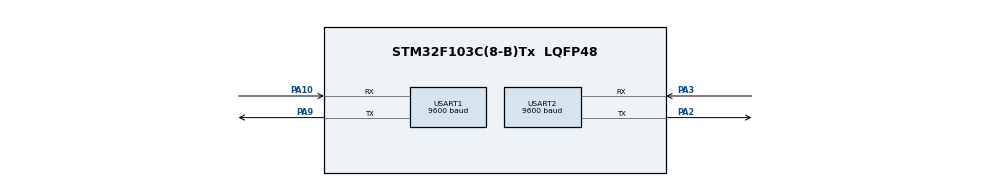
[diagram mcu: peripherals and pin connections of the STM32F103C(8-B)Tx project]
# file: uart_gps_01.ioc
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Mcu.Family=STM32F1
Mcu.Name=STM32F103C(8-B)Tx
Mcu.Package=LQFP48
NVIC.PriorityGroup=NVIC_PRIORITYGROUP_4
NVIC.USART1_IRQn=true\:0\:0\:false\:false\:true\:true\:true
PA10.Mode=Asynchronous
PA10.Signal=USART1_RX
PA13.Mode=Serial_Wire
PA13.Signal=SYS_JTMS-SWDIO
PA14.Mode=Serial_Wire
PA14.Signal=SYS_JTCK-SWCLK
PA2.Mode=Asynchronous
PA2.Signal=USART2_TX
PA3.Mode=Asynchronous
PA3.Signal=USART2_RX
PA9.Mode=Asynchronous
PA9.Signal=USART1_TX
PD0-OSC_IN.Mode=HSE-External-Oscillator
PD0-OSC_IN.Signal=RCC_OSC_IN
PD1-OSC_OUT.Mode=HSE-External-Oscillator
PD1-OSC_OUT.Signal=RCC_OSC_OUT
ProjectManager.HeapSize=0x200
ProjectManager.StackSize=0x400
ProjectManager.TargetToolchain=STM32CubeIDE
RCC.APB1Freq_Value=8000000
RCC.APB2Freq_Value=8000000
USART1.BaudRate=9600
USART1.VirtualMode=VM_ASYNC
USART2.BaudRate=9600
USART2.Mode=MODE_TX
USART2.VirtualMode=VM_ASYNC
board=custom

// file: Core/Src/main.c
/* USER CODE BEGIN Header */
/**
  ******************************************************************************
  * @file           : main.c
  * @brief          : Main program body
  ******************************************************************************
  * @attention
  *
  * Copyright (c) 2025 STMicroelectronics.
  * All rights reserved.
  *
  * This software is licensed under terms that can be found in the LICENSE file
  * in the root directory of this software component.
  * If no LICENSE file comes with this software, it is provided AS-IS.
  *
  ******************************************************************************
  */
/* USER CODE END Header */
#include "main.h"
#include "usart.h"
#include "gpio.h"
#include <stdio.h>
#include <string.h>
#include <stdlib.h>

/* USER CODE BEGIN Includes */
int __io_putchar(int ch) {
  HAL_UART_Transmit(&huart2, (uint8_t *)&ch, 1, HAL_MAX_DELAY);
  return ch;
}
/* USER CODE END Includes */

/* USER CODE BEGIN PTD */
UART_HandleTypeDef huart1;
UART_HandleTypeDef huart2;
/* USER CODE END PTD */

/* USER CODE BEGIN PV */
char rxBuffer[1024];
char txBuffer[128];
char gpsLat[16] = "0.000000";
char gpsLon[16] = "0.000000";
uint8_t gpsFixed = 0;
volatile uint16_t rxIndex = 0;
volatile uint8_t rxComplete = 0;
uint8_t rxChar;
/* USER CODE END PV */

void SystemClock_Config(void);
/* USER CODE BEGIN PFP */
void SystemClock_Config(void);
void sendAT(char *cmd, uint32_t delayMs);
void getGPSData();
void submitHttpRequest();
void clearRxBuffer();
void startUartReceive();
void HAL_UART_RxCpltCallback(UART_HandleTypeDef *huart);
/* USER CODE END PFP */

int main(void)
{

  /* MCU Configuration--------------------------------------------------------*/

  /* Reset of all peripherals, Initializes the Flash interface and the Systick. */
  HAL_Init();

  /* Configure the system clock */
  SystemClock_Config();

  /* Initialize all configured peripherals */
  MX_GPIO_Init();
  MX_USART1_UART_Init();
  MX_USART2_UART_Init();
  /* USER CODE BEGIN 2 */

  printf("Starting SIM808 GPS Tracker...\r\n");

  // Start interrupt-based UART reception
  startUartReceive();

  // Basic AT command test
  HAL_UART_Transmit(&huart1, (uint8_t *)"AT\r\n", 4, 1000);
  HAL_Delay(1000);

  // Enable GPS power and wait longer for GPS to initialize
  printf("Enabling GPS...\r\n");
  sendAT("AT+CGNSPWR=1\r\n", 2000); // Enable GPS power
  HAL_Delay(5000); // Wait 5 seconds for GPS to power up

  // Configure GPRS
  printf("Configuring GPRS...\r\n");
  sendAT("AT+SAPBR=3,1,\"CONTYPE\",\"GPRS\"\r\n", 1000);
  sendAT("AT+SAPBR=3,1,\"APN\",\"YourAPN\"\r\n", 1000);
  sendAT("AT+SAPBR=1,1\r\n", 3000);
  sendAT("AT+HTTPINIT\r\n", 500);

  printf("Initialization complete. Starting main loop...\r\n");

  /* USER CODE END 2 */

  /* Infinite loop */
  while (1)
  {
    getGPSData();

    if (gpsFixed) {
      printf("GPS Fixed! Latitude = %s, Longitude = %s\r\n", gpsLat, gpsLon);
      submitHttpRequest();
    } else {
      printf("GPS not fixed yet. Latitude = %s, Longitude = %s\r\n", gpsLat, gpsLon);
    }

    HAL_Delay(10000); // Wait 10 seconds before next reading
  }
}

void SystemClock_Config(void)
{
  RCC_OscInitTypeDef RCC_OscInitStruct = {0};
  RCC_ClkInitTypeDef RCC_ClkInitStruct = {0};

  /** Initializes the RCC Oscillators according to the specified parameters
  * in the RCC_OscInitStruct structure.
  */
  RCC_OscInitStruct.OscillatorType = RCC_OSCILLATORTYPE_HSI;
  RCC_OscInitStruct.HSIState = RCC_HSI_ON;
  RCC_OscInitStruct.HSICalibrationValue = RCC_HSICALIBRATION_DEFAULT;
  RCC_OscInitStruct.PLL.PLLState = RCC_PLL_NONE;
  if (HAL_RCC_OscConfig(&RCC_OscInitStruct) != HAL_OK)
  {
    Error_Handler();
  }
  /** Initializes the CPU, AHB and APB buses clocks
  */
  RCC_ClkInitStruct.ClockType = RCC_CLOCKTYPE_HCLK|RCC_CLOCKTYPE_SYSCLK
                              |RCC_CLOCKTYPE_PCLK1|RCC_CLOCKTYPE_PCLK2;
  RCC_ClkInitStruct.SYSCLKSource = RCC_SYSCLKSOURCE_HSI;
  RCC_ClkInitStruct.AHBCLKDivider = RCC_SYSCLK_DIV1;
  RCC_ClkInitStruct.APB1CLKDivider = RCC_HCLK_DIV1;
  RCC_ClkInitStruct.APB2CLKDivider = RCC_HCLK_DIV1;

  if (HAL_RCC_ClockConfig(&RCC_ClkInitStruct, FLASH_LATENCY_0) != HAL_OK)
  {
    Error_Handler();
  }
}

/* USER CODE BEGIN 4 */
void clearRxBuffer() {
  rxIndex = 0;
  rxComplete = 0;
  memset(rxBuffer, 0, sizeof(rxBuffer));
}

void startUartReceive() {
  HAL_UART_Receive_IT(&huart1, &rxChar, 1);
}

void HAL_UART_RxCpltCallback(UART_HandleTypeDef *huart) {
  if (huart->Instance == USART1) {
    if (rxIndex < sizeof(rxBuffer) - 1) {
      rxBuffer[rxIndex++] = rxChar;
      rxBuffer[rxIndex] = '\0';

      // Check for end of response (OK or ERROR)
      if (strstr(rxBuffer, "OK\r\n") || strstr(rxBuffer, "ERROR\r\n") ||
          strstr(rxBuffer, "+CGNSINF:")) {
        rxComplete = 1;
      }
    }
    // Continue receiving
    HAL_UART_Receive_IT(&huart1, &rxChar, 1);
  }
}

void sendAT(char *cmd, uint32_t delayMs) {
  clearRxBuffer();
  printf("Sending: %s", cmd);

  HAL_UART_Transmit(&huart1, (uint8_t *)cmd, strlen(cmd), 1000);

  // Wait for response with timeout
  uint32_t startTime = HAL_GetTick();
  while (!rxComplete && (HAL_GetTick() - startTime) < delayMs) {
    HAL_Delay(10);
  }

  if (rxComplete) {
    printf("Response: %s\r\n", rxBuffer);
  } else {
    printf("Timeout waiting for response\r\n");
  }
}

void getGPSData() {
  printf("Getting GPS data...\r\n");

  clearRxBuffer();
  HAL_UART_Transmit(&huart1, (uint8_t *)"AT+CGNSINF\r\n", 12, 1000);

  // Wait for complete response with longer timeout
  uint32_t startTime = HAL_GetTick();
  while (!rxComplete && (HAL_GetTick() - startTime) < 5000) {
    HAL_Delay(50);
  }

  if (rxComplete) {
    printf("GPS Raw Response: %s\r\n", rxBuffer);

    // Look for CGNSINF response
    char *cgnsinf_start = strstr(rxBuffer, "+CGNSINF:");
    if (cgnsinf_start) {
      printf("Found CGNSINF response\r\n");

      // Create a working copy to avoid modifying original buffer
      char workingBuffer[512];
      strcpy(workingBuffer, cgnsinf_start + 10); // Skip "+CGNSINF: "

      // Remove any trailing \r\n or other characters after the data
      char *endOfData = strstr(workingBuffer, "\r");
      if (endOfData) *endOfData = '\0';

      printf("Working with: %s\r\n", workingBuffer);

      // Parse the comma-separated values
      char *token = strtok(workingBuffer, ",");
      int index = 0;

      while (token != NULL && index < 10) {
        // Remove any whitespace
        while (*token == ' ') token++;

        printf("Field %d: '%s'\r\n", index, token);

        if (index == 0) {
          // GPS run status (should be 1)
          printf("GPS Run Status: %s\r\n", token);
        }
        if (index == 1) {
          // GPS fix status (should be 1)
          gpsFixed = (atoi(token) == 1) ? 1 : 0;
          printf("GPS Fix Status: %s (%s)\r\n", token, gpsFixed ? "FIXED" : "NOT FIXED");
        }
        if (index == 3 && strlen(token) > 1) {
          // Latitude
          strncpy(gpsLat, token, sizeof(gpsLat)-1);
          gpsLat[sizeof(gpsLat)-1] = '\0';
          printf("Parsed Latitude: '%s'\r\n", gpsLat);
        }
        if (index == 4 && strlen(token) > 1) {
          // Longitude
          strncpy(gpsLon, token, sizeof(gpsLon)-1);
          gpsLon[sizeof(gpsLon)-1] = '\0';
          printf("Parsed Longitude: '%s'\r\n", gpsLon);
        }

        token = strtok(NULL, ",");
        index++;
      }
    } else {
      printf("No CGNSINF found in response\r\n");
      gpsFixed = 0;

      // Let's also check what we actually received
      printf("Raw buffer content (hex): ");
      for(int i = 0; i < rxIndex && i < 100; i++) {
        printf("%02X ", (uint8_t)rxBuffer[i]);
      }
      printf("\r\n");
    }
  } else {
    printf("Timeout waiting for GPS data\r\n");
    gpsFixed = 0;
  }
}

void submitHttpRequest() {
  if (!gpsFixed) {
    printf("GPS not fixed, skipping HTTP request\r\n");
    return;
  }

  printf("Submitting HTTP request with GPS data...\r\n");

  char url[256];
  snprintf(url, sizeof(url),
    "AT+HTTPPARA=\"URL\",\"http://yourwebsite.com/getdata.php?lat=%s&lng=%s\"\r\n",
    gpsLat, gpsLon);

  printf("URL: %s", url);

  sendAT("AT+HTTPPARA=\"CID\",1\r\n", 500);
  sendAT(url, 500);
  sendAT("AT+HTTPACTION=0\r\n", 5000); // GET request, wait longer for response

  printf("HTTP request submitted\r\n");
}

/* USER CODE END 4 */

void Error_Handler(void)
{
  __disable_irq();
  while (1)
  {
  }
}
